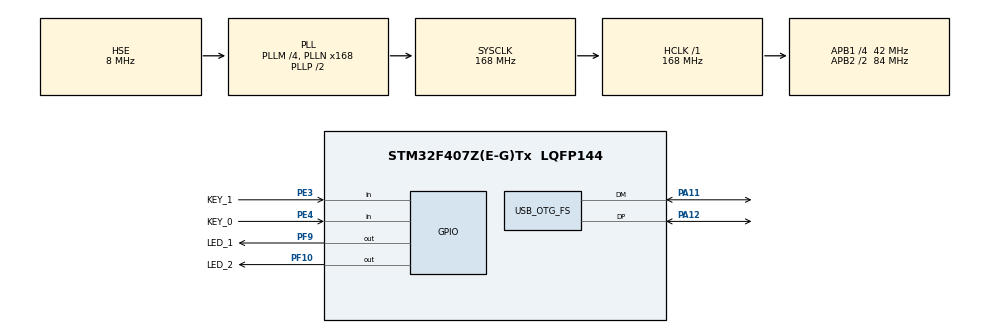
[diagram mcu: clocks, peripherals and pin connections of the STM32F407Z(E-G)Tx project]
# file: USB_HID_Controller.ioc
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Mcu.Family=STM32F4
Mcu.Name=STM32F407Z(E-G)Tx
Mcu.Package=LQFP144
NVIC.OTG_FS_IRQn=true\:0\:0\:false\:false\:true\:false\:true\:true
NVIC.PriorityGroup=NVIC_PRIORITYGROUP_4
PA11.Mode=Device_Only
PA11.Signal=USB_OTG_FS_DM
PA12.Mode=Device_Only
PA12.Signal=USB_OTG_FS_DP
PE3.GPIO_Label=KEY_1
PE3.GPIO_PuPd=GPIO_PULLUP
PE3.Signal=GPIO_Input
PE4.GPIO_Label=KEY_0
PE4.GPIO_PuPd=GPIO_PULLUP
PE4.Signal=GPIO_Input
PF10.GPIO_Label=LED_2
PF10.GPIO_ModeDefaultOutputPP=GPIO_MODE_OUTPUT_OD
PF10.GPIO_PuPd=GPIO_NOPULL
PF10.PinState=GPIO_PIN_SET
PF10.Signal=GPIO_Output
PF9.GPIO_Label=LED_1
PF9.GPIO_ModeDefaultOutputPP=GPIO_MODE_OUTPUT_OD
PF9.GPIO_PuPd=GPIO_NOPULL
PF9.PinState=GPIO_PIN_SET
PF9.Signal=GPIO_Output
PH0-OSC_IN.Mode=HSE-External-Oscillator
PH0-OSC_IN.Signal=RCC_OSC_IN
PH1-OSC_OUT.Mode=HSE-External-Oscillator
PH1-OSC_OUT.Signal=RCC_OSC_OUT
ProjectManager.HeapSize=0x200
ProjectManager.StackSize=0x400
ProjectManager.TargetToolchain=STM32CubeIDE
RCC.48MHZClocksFreq_Value=48000000
RCC.AHBFreq_Value=168000000
RCC.APB1CLKDivider=RCC_HCLK_DIV4
RCC.APB1Freq_Value=42000000
RCC.APB1TimFreq_Value=84000000
RCC.APB2CLKDivider=RCC_HCLK_DIV2
RCC.APB2Freq_Value=84000000
RCC.APB2TimFreq_Value=168000000
RCC.CortexFreq_Value=168000000
RCC.HCLKFreq_Value=168000000
RCC.HSE_VALUE=8000000
RCC.HSI_VALUE=16000000
RCC.LSE_VALUE=32768
RCC.PLLM=4
RCC.PLLN=168
RCC.PLLQ=7
RCC.SYSCLKFreq_VALUE=168000000
RCC.SYSCLKSource=RCC_SYSCLKSOURCE_PLLCLK
RCC.VCOOutputFreq_Value=336000000
USB_DEVICE.CLASS_NAME_FS=CUSTOM_HID
USB_DEVICE.CONFIGURATION_STRING_CUSTOMHID_FS=STM32 Controller Config
USB_DEVICE.INTERFACE_STRING_CUSTOMHID_FS=STM32 Controller Interface
USB_DEVICE.PRODUCT_STRING_CUSTOMHID_FS=STM32 Controller
USB_DEVICE.USBD_CUSTOMHID_OUTREPORT_BUF_SIZE-CUSTOM_HID_FS=64
USB_DEVICE.USBD_CUSTOM_HID_REPORT_DESC_SIZE-CUSTOM_HID_FS=132
USB_DEVICE.VirtualMode-CUSTOM_HID_FS=CustomHid
USB_DEVICE.VirtualModeFS=Custom_Hid_FS
USB_OTG_FS.VirtualMode=Device_Only
VP_USB_DEVICE_VS_USB_DEVICE_CUSTOM_HID_FS.Mode=CUSTOM_HID_FS
board=custom

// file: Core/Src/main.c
/* USER CODE BEGIN Header */
/**
  ******************************************************************************
  * @file           : main.c
  * @brief          : Main program body
  ******************************************************************************
  * @attention
  *
  * Copyright (c) 2023 STMicroelectronics.
  * All rights reserved.
  *
  * This software is licensed under terms that can be found in the LICENSE file
  * in the root directory of this software component.
  * If no LICENSE file comes with this software, it is provided AS-IS.
  *
  ******************************************************************************
  */
/* USER CODE END Header */
#include "main.h"
#include "usb_device.h"

/* USER CODE BEGIN Includes */

#include "led.h"
#include "key.h"
#include "usbd_custom_hid_if.h"
#include "usbd_midi_if.h"

/* USER CODE END Includes */

/* USER CODE BEGIN PTD */

typedef struct KeyData {
  GPIO_TypeDef* GPIOx;
  uint16_t GPIO_Pin;
  uint16_t ID;
} KeyData;

/* USER CODE END PTD */

/* USER CODE BEGIN PD */

#define KEY_PRESSED  GPIO_PIN_RESET
#define KEY_RELEASED GPIO_PIN_SET

#define LED_ON  GPIO_PIN_RESET
#define LED_OFF GPIO_PIN_SET

#define NUM_KEYS 2u
#define NUM_LEDS 2u

/* USER CODE END PD */

/* USER CODE BEGIN PV */

uint16_t ctrlState;
uint16_t midiState;

static Key keys[NUM_KEYS];
static LED leds[NUM_LEDS];

/* USER CODE END PV */

void SystemClock_Config(void);
static void MX_GPIO_Init(void);
/* USER CODE BEGIN PFP */

void UpdateStateLED();
void Key_Scan(Key* key);
void Key_ScanAll();
void OnKeyStateChanged(Key* sender, uint8_t oldState, uint8_t newState);

/* USER CODE END PFP */

/* USER CODE BEGIN 0 */

uint16_t ctrlState = 0;
uint16_t midiState = 0;

static Key keys[NUM_KEYS] = {
  {
    .UserData = &((KeyData){
      .GPIOx = KEY_0_GPIO_Port,
      .GPIO_Pin = KEY_0_Pin,
      .ID = 0,
    }),
    .State = KEY_RELEASED,
    .OnStateChanged = OnKeyStateChanged,
  },
  {
    .UserData = &((KeyData){
      .GPIOx = KEY_1_GPIO_Port,
      .GPIO_Pin = KEY_1_Pin,
      .ID = 1,
    }),
    .State = KEY_RELEASED,
    .OnStateChanged = OnKeyStateChanged,
  },
};

static LED leds[NUM_LEDS] = {
  {
    .GPIOx = LED_1_GPIO_Port,
    .GPIO_Pin = LED_1_Pin
  },
  {
    .GPIOx = LED_2_GPIO_Port,
    .GPIO_Pin = LED_2_Pin
  }
};

void UpdateStateLED() {
  if (ctrlState != 0) {
    LED_SetState(&leds[0], LED_ON);
  }
  else {
    LED_SetState(&leds[0], LED_OFF);
  }
  if (midiState != 0) {
    LED_SetState(&leds[1], LED_ON);
  }
  else {
    LED_SetState(&leds[1], LED_OFF);
  }
}

void Key_Scan(Key* key) {
  KeyData* keyData = (KeyData*)key->UserData;
  uint8_t keyLevel = HAL_GPIO_ReadPin(keyData->GPIOx, keyData->GPIO_Pin);
  Key_Update(key, keyLevel);
}

void Key_ScanAll() {
  for (int i=0; i<NUM_KEYS; i++) {
    Key* key = &keys[i];
    Key_Scan(key);
  }
}

void OnKeyStateChanged(Key* sender, uint8_t oldState, uint8_t newState) {
  KeyData* keyData = (KeyData*)sender->UserData;
  switch (keyData->ID)
  {
  case 0:
    if (newState == KEY_PRESSED) {
      ctrlState = ctrlState | CTRL_PLAY_PAUSE;
      USBD_CUSTOM_HID_SendCtrlReport_FS(ctrlState);
      UpdateStateLED();
    } else {
      ctrlState = ctrlState & ~CTRL_PLAY_PAUSE;
      USBD_CUSTOM_HID_SendCtrlReport_FS(ctrlState);
      UpdateStateLED();
    }
    break;
  case 1:
    if (newState == KEY_PRESSED) {
      // ctrlState = ctrlState | CTRL_NEXT;
      // USBD_CUSTOM_HID_SendCtrlReport_FS(ctrlState);
      midiState = ~midiState;
      USBD_MIDI_SendCCMessage_FS(0x0, 0x0, 80, midiState);
      UpdateStateLED();
    } else {
      // ctrlState = ctrlState & ~CTRL_NEXT;
      // USBD_CUSTOM_HID_SendCtrlReport_FS(ctrlState);
      UpdateStateLED();
    }
    break;
  default:
    break;
  }
}

/* USER CODE END 0 */

int main(void)
{

  /* MCU Configuration--------------------------------------------------------*/

  /* Reset of all peripherals, Initializes the Flash interface and the Systick. */
  HAL_Init();

  /* Configure the system clock */
  SystemClock_Config();

  /* Initialize all configured peripherals */
  MX_GPIO_Init();
  MX_USB_DEVICE_Init();

  /* Infinite loop */
  while (1)
  {

    /* USER CODE BEGIN 3 */

    Key_ScanAll();

  }
  /* USER CODE END 3 */
}

void SystemClock_Config(void)
{
  RCC_OscInitTypeDef RCC_OscInitStruct = {0};
  RCC_ClkInitTypeDef RCC_ClkInitStruct = {0};

  /** Configure the main internal regulator output voltage
  */
  __HAL_RCC_PWR_CLK_ENABLE();
  __HAL_PWR_VOLTAGESCALING_CONFIG(PWR_REGULATOR_VOLTAGE_SCALE1);

  /** Initializes the RCC Oscillators according to the specified parameters
  * in the RCC_OscInitTypeDef structure.
  */
  RCC_OscInitStruct.OscillatorType = RCC_OSCILLATORTYPE_HSE;
  RCC_OscInitStruct.HSEState = RCC_HSE_ON;
  RCC_OscInitStruct.PLL.PLLState = RCC_PLL_ON;
  RCC_OscInitStruct.PLL.PLLSource = RCC_PLLSOURCE_HSE;
  RCC_OscInitStruct.PLL.PLLM = 4;
  RCC_OscInitStruct.PLL.PLLN = 168;
  RCC_OscInitStruct.PLL.PLLP = RCC_PLLP_DIV2;
  RCC_OscInitStruct.PLL.PLLQ = 7;
  if (HAL_RCC_OscConfig(&RCC_OscInitStruct) != HAL_OK)
  {
    Error_Handler();
  }

  /** Initializes the CPU, AHB and APB buses clocks
  */
  RCC_ClkInitStruct.ClockType = RCC_CLOCKTYPE_HCLK|RCC_CLOCKTYPE_SYSCLK
                              |RCC_CLOCKTYPE_PCLK1|RCC_CLOCKTYPE_PCLK2;
  RCC_ClkInitStruct.SYSCLKSource = RCC_SYSCLKSOURCE_PLLCLK;
  RCC_ClkInitStruct.AHBCLKDivider = RCC_SYSCLK_DIV1;
  RCC_ClkInitStruct.APB1CLKDivider = RCC_HCLK_DIV4;
  RCC_ClkInitStruct.APB2CLKDivider = RCC_HCLK_DIV2;

  if (HAL_RCC_ClockConfig(&RCC_ClkInitStruct, FLASH_LATENCY_5) != HAL_OK)
  {
    Error_Handler();
  }
}

static void MX_GPIO_Init(void)
{
  GPIO_InitTypeDef GPIO_InitStruct = {0};

  /* GPIO Ports Clock Enable */
  __HAL_RCC_GPIOE_CLK_ENABLE();
  __HAL_RCC_GPIOF_CLK_ENABLE();
  __HAL_RCC_GPIOH_CLK_ENABLE();
  __HAL_RCC_GPIOA_CLK_ENABLE();

  /*Configure GPIO pin Output Level */
  HAL_GPIO_WritePin(GPIOF, LED_1_Pin|LED_2_Pin, GPIO_PIN_SET);

  /*Configure GPIO pins : KEY_1_Pin KEY_0_Pin */
  GPIO_InitStruct.Pin = KEY_1_Pin|KEY_0_Pin;
  GPIO_InitStruct.Mode = GPIO_MODE_INPUT;
  GPIO_InitStruct.Pull = GPIO_PULLUP;
  HAL_GPIO_Init(GPIOE, &GPIO_InitStruct);

  /*Configure GPIO pins : LED_1_Pin LED_2_Pin */
  GPIO_InitStruct.Pin = LED_1_Pin|LED_2_Pin;
  GPIO_InitStruct.Mode = GPIO_MODE_OUTPUT_OD;
  GPIO_InitStruct.Pull = GPIO_NOPULL;
  GPIO_InitStruct.Speed = GPIO_SPEED_FREQ_LOW;
  HAL_GPIO_Init(GPIOF, &GPIO_InitStruct);

}

void Error_Handler(void)
{
  __disable_irq();
  while (1)
  {
  }
}
